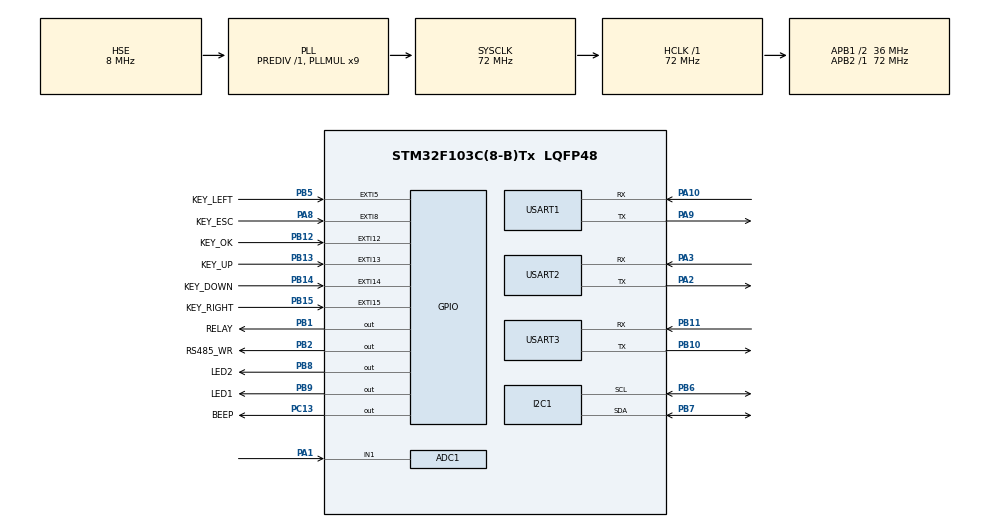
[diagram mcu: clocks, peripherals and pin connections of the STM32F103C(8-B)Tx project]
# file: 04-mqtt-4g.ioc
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ADC1.Channel-0\#ChannelRegularConversion=ADC_CHANNEL_1
ADC1.NbrOfConversionFlag=1
ADC1.Rank-0\#ChannelRegularConversion=1
ADC1.SamplingTime-0\#ChannelRegularConversion=ADC_SAMPLETIME_239CYCLES_5
ADC1.master=1
Dma.Request0=USART3_RX
Dma.Request1=USART1_RX
Dma.USART1_RX.1.Direction=DMA_PERIPH_TO_MEMORY
Dma.USART1_RX.1.Instance=DMA1_Channel5
Dma.USART1_RX.1.MemDataAlignment=DMA_MDATAALIGN_BYTE
Dma.USART1_RX.1.MemInc=DMA_MINC_ENABLE
Dma.USART1_RX.1.Mode=DMA_CIRCULAR
Dma.USART1_RX.1.PeriphDataAlignment=DMA_PDATAALIGN_BYTE
Dma.USART1_RX.1.PeriphInc=DMA_PINC_DISABLE
Dma.USART1_RX.1.Priority=DMA_PRIORITY_HIGH
Dma.USART3_RX.0.Direction=DMA_PERIPH_TO_MEMORY
Dma.USART3_RX.0.Instance=DMA1_Channel3
Dma.USART3_RX.0.MemDataAlignment=DMA_MDATAALIGN_BYTE
Dma.USART3_RX.0.MemInc=DMA_MINC_ENABLE
Dma.USART3_RX.0.Mode=DMA_CIRCULAR
Dma.USART3_RX.0.PeriphDataAlignment=DMA_PDATAALIGN_BYTE
Dma.USART3_RX.0.PeriphInc=DMA_PINC_DISABLE
Dma.USART3_RX.0.Priority=DMA_PRIORITY_HIGH
Mcu.Family=STM32F1
Mcu.Name=STM32F103C(8-B)Tx
Mcu.Package=LQFP48
NVIC.DMA1_Channel3_IRQn=true\:0\:0\:false\:false\:true\:false\:true\:true
NVIC.DMA1_Channel5_IRQn=true\:0\:0\:false\:false\:true\:false\:true\:true
NVIC.EXTI15_10_IRQn=true\:0\:0\:true\:false\:true\:true\:true\:true
NVIC.EXTI9_5_IRQn=true\:0\:0\:true\:false\:true\:true\:true\:true
NVIC.PriorityGroup=NVIC_PRIORITYGROUP_4
NVIC.TIM1_UP_IRQn=true\:0\:0\:false\:false\:true\:true\:true\:true
NVIC.TIM3_IRQn=true\:2\:0\:true\:false\:false\:true\:true\:true
NVIC.TIM4_IRQn=true\:0\:0\:false\:false\:true\:true\:true\:true
NVIC.USART1_IRQn=true\:0\:0\:false\:false\:true\:true\:true\:true
NVIC.USART2_IRQn=true\:0\:0\:false\:false\:false\:true\:true\:true
NVIC.USART3_IRQn=true\:0\:0\:false\:false\:true\:true\:true\:true
PA1.Signal=ADCx_IN1
PA10.Mode=Asynchronous
PA10.Signal=USART1_RX
PA13.Mode=Serial_Wire
PA13.Signal=SYS_JTMS-SWDIO
PA14.Mode=Serial_Wire
PA14.Signal=SYS_JTCK-SWCLK
PA2.Mode=Asynchronous
PA2.Signal=USART2_TX
PA3.Mode=Asynchronous
PA3.Signal=USART2_RX
PA8.GPIO_Label=KEY_ESC
PA8.GPIO_ModeDefaultEXTI=GPIO_MODE_IT_FALLING
PA8.GPIO_PuPd=GPIO_PULLUP
PA8.Signal=GPXTI8
PA9.Mode=Asynchronous
PA9.Signal=USART1_TX
PB1.GPIO_Label=RELAY
PB1.Signal=GPIO_Output
PB10.Mode=Asynchronous
PB10.Signal=USART3_TX
PB11.Mode=Asynchronous
PB11.Signal=USART3_RX
PB12.GPIO_Label=KEY_OK
PB12.GPIO_ModeDefaultEXTI=GPIO_MODE_IT_FALLING
PB12.GPIO_PuPd=GPIO_PULLUP
PB12.Signal=GPXTI12
PB13.GPIO_Label=KEY_UP
PB13.GPIO_ModeDefaultEXTI=GPIO_MODE_IT_FALLING
PB13.GPIO_PuPd=GPIO_PULLUP
PB13.Signal=GPXTI13
PB14.GPIO_Label=KEY_DOWN
PB14.GPIO_ModeDefaultEXTI=GPIO_MODE_IT_FALLING
PB14.GPIO_PuPd=GPIO_PULLUP
PB14.Signal=GPXTI14
PB15.GPIO_Label=KEY_RIGHT
PB15.GPIO_ModeDefaultEXTI=GPIO_MODE_IT_FALLING
PB15.GPIO_PuPd=GPIO_PULLUP
PB15.Signal=GPXTI15
PB2.GPIO_Label=RS485_WR
PB2.GPIO_Speed=GPIO_SPEED_FREQ_HIGH
PB2.Signal=GPIO_Output
PB5.GPIO_Label=KEY_LEFT
PB5.GPIO_ModeDefaultEXTI=GPIO_MODE_IT_FALLING
PB5.GPIO_PuPd=GPIO_PULLUP
PB5.Signal=GPXTI5
PB6.Mode=I2C
PB6.Signal=I2C1_SCL
PB7.Mode=I2C
PB7.Signal=I2C1_SDA
PB8.GPIO_Label=LED2
PB8.PinState=GPIO_PIN_SET
PB8.Signal=GPIO_Output
PB9.GPIO_Label=LED1
PB9.PinState=GPIO_PIN_SET
PB9.Signal=GPIO_Output
PC13-TAMPER-RTC.GPIO_Label=BEEP
PC13-TAMPER-RTC.Signal=GPIO_Output
PC14-OSC32_IN.Mode=LSE-External-Oscillator
PC14-OSC32_IN.Signal=RCC_OSC32_IN
PC15-OSC32_OUT.Mode=LSE-External-Oscillator
PC15-OSC32_OUT.Signal=RCC_OSC32_OUT
PD0-OSC_IN.Mode=HSE-External-Oscillator
PD0-OSC_IN.Signal=RCC_OSC_IN
PD1-OSC_OUT.Mode=HSE-External-Oscillator
PD1-OSC_OUT.Signal=RCC_OSC_OUT
ProjectManager.HeapSize=0x200
ProjectManager.StackSize=0x400
ProjectManager.TargetToolchain=MDK-ARM V5.32
RCC.ADCPresc=RCC_ADCPCLK2_DIV6
RCC.AHBFreq_Value=72000000
RCC.APB1CLKDivider=RCC_HCLK_DIV2
RCC.APB1Freq_Value=36000000
RCC.APB1TimFreq_Value=72000000
RCC.APB2Freq_Value=72000000
RCC.APB2TimFreq_Value=72000000
RCC.HCLKFreq_Value=72000000
RCC.PLLMUL=RCC_PLL_MUL9
RCC.PLLSourceVirtual=RCC_PLLSOURCE_HSE
RCC.RTCClockSelection=RCC_RTCCLKSOURCE_LSE
RCC.SYSCLKFreq_VALUE=72000000
RCC.SYSCLKSource=RCC_SYSCLKSOURCE_PLLCLK
RCC.USBFreq_Value=72000000
RTC.Date=4
RTC.Hours=10
RTC.Minutes=20
RTC.Month=RTC_MONTH_SEPTEMBER
RTC.Seconds=30
RTC.WeekDay=RTC_WEEKDAY_THURSDAY
RTC.Year=25
SH.ADCx_IN1.0=ADC1_IN1,IN1
TIM1.AutoReloadPreload=TIM_AUTORELOAD_PRELOAD_ENABLE
TIM1.Period=5000
TIM1.Prescaler=7200-1
TIM3.AutoReloadPreload=TIM_AUTORELOAD_PRELOAD_DISABLE
TIM3.Period=100
TIM3.Prescaler=3599
TIM4.AutoReloadPreload=TIM_AUTORELOAD_PRELOAD_DISABLE
TIM4.Period=100
TIM4.Prescaler=7200-1
USART1.VirtualMode=VM_ASYNC
USART2.VirtualMode=VM_ASYNC
USART3.VirtualMode=VM_ASYNC
VP_RTC_No_RTC_Output.Mode=RTC_OUT_NO
VP_RTC_VS_RTC_Activate.Mode=RTC_Enabled
VP_RTC_VS_RTC_Calendar.Mode=RTC_Calendar
VP_TIM1_VS_ClockSourceINT.Mode=Internal
VP_TIM3_VS_ClockSourceINT.Mode=Internal
VP_TIM4_VS_ClockSourceINT.Mode=Internal
board=custom

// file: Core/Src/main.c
/* USER CODE BEGIN Header */
/**
  ******************************************************************************
  * @file           : main.c
  * @brief          : Main program body
  ******************************************************************************
  * @attention
  *
  * Copyright (c) 2025 STMicroelectronics.
  * All rights reserved.
  *
  * This software is licensed under terms that can be found in the LICENSE file
  * in the root directory of this software component.
  * If no LICENSE file comes with this software, it is provided AS-IS.
  *
  ******************************************************************************
  */
/* USER CODE END Header */
#include "main.h"
#include "adc.h"
#include "dma.h"
#include "i2c.h"
#include "rtc.h"
#include "tim.h"
#include "usart.h"
#include "gpio.h"

/* USER CODE BEGIN Includes */
#include <stdio.h>
#include "oled.h"
#include "aht20.h"
#include "ina226.h"
#include "mb.h"
#include "modbus.h"
#include "wifi4g.h"
#include "mqtt.h"
#include "mqtt.h"
/* USER CODE END Includes */

void SystemClock_Config(void);

int main(void)
{

  /* MCU Configuration--------------------------------------------------------*/

  /* Reset of all peripherals, Initializes the Flash interface and the Systick. */
  HAL_Init();

  /* Configure the system clock */
  SystemClock_Config();

  /* Initialize all configured peripherals */
  MX_GPIO_Init();
  MX_DMA_Init();
  MX_USART1_UART_Init();
  MX_I2C1_Init();
  MX_RTC_Init();
  MX_ADC1_Init();
  MX_TIM3_Init();
  MX_USART2_UART_Init();
  MX_TIM1_Init();
  MX_USART3_UART_Init();
  MX_TIM4_Init();
  /* USER CODE BEGIN 2 */
	HAL_Delay(400); // 这里延时是给esp8266 打印日志使用的
	// 经过测试 , 400ms时, 日志输出就没有了, 为了安全,我们设置400ms 以上的延时
	// 等待esp8266 输出初始化日志, 要不然一旦开启uart3就会触发dma中断,早期的esp8266初始化的数据波特率不是
	// 115200, 会造成uart3的错误,要在uart3中做错误恢复

	printf("Uart1 init is ok\n");
	printf("MQTT Test\n");
	//EEPROM_Test();
	OLED_Init();
	OLED_CLS(); // 清除屏幕显示
	OLED_ShowStr(16,0, (unsigned char*)"MQTT Control", 2);
	AHT20_Init();
	INA226_Init();

	__HAL_UART_ENABLE_IT(&huart1, UART_IT_IDLE); //使能串UART1 IDLE(空闲)中断
	HAL_UART_Receive_DMA(&huart1, RX1_Buf, DMA_BUF_SIZE); //设置DMA传输，将uart1的数据搬运到RX1_Buf中

	__HAL_UART_ENABLE_IT(&huart3, UART_IT_IDLE); //使能串UART3 IDLE(空闲)中断
	HAL_UART_Receive_DMA(&huart3, RX3_Buf, DMA_BUF_SIZE); //设置DMA传输，将uart3的数据搬运到RX3_Buf中

	MQTT_Connect_Server();
	HAL_TIM_Base_Start_IT(&htim1); // 使能定时器1中断
	Modbus_Init();
  /* USER CODE END 2 */

  /* Infinite loop */
  /* USER CODE BEGIN WHILE */
  while (1)
  {
		eMBPoll();// 轮训查询
		Modbus_Parse();

		if(MQTT_UPLoad_Flag) // 每隔5秒执行1次
		{
				MQTT_UPLoad_Flag = 0 ;
				MQTT_SendData();
		}
    /* USER CODE END WHILE */

  }
}

void SystemClock_Config(void)
{
  RCC_OscInitTypeDef RCC_OscInitStruct = {0};
  RCC_ClkInitTypeDef RCC_ClkInitStruct = {0};
  RCC_PeriphCLKInitTypeDef PeriphClkInit = {0};

  /** Initializes the RCC Oscillators according to the specified parameters
  * in the RCC_OscInitTypeDef structure.
  */
  RCC_OscInitStruct.OscillatorType = RCC_OSCILLATORTYPE_HSE|RCC_OSCILLATORTYPE_LSE;
  RCC_OscInitStruct.HSEState = RCC_HSE_ON;
  RCC_OscInitStruct.HSEPredivValue = RCC_HSE_PREDIV_DIV1;
  RCC_OscInitStruct.LSEState = RCC_LSE_ON;
  RCC_OscInitStruct.HSIState = RCC_HSI_ON;
  RCC_OscInitStruct.PLL.PLLState = RCC_PLL_ON;
  RCC_OscInitStruct.PLL.PLLSource = RCC_PLLSOURCE_HSE;
  RCC_OscInitStruct.PLL.PLLMUL = RCC_PLL_MUL9;
  if (HAL_RCC_OscConfig(&RCC_OscInitStruct) != HAL_OK)
  {
    Error_Handler();
  }

  /** Initializes the CPU, AHB and APB buses clocks
  */
  RCC_ClkInitStruct.ClockType = RCC_CLOCKTYPE_HCLK|RCC_CLOCKTYPE_SYSCLK
                              |RCC_CLOCKTYPE_PCLK1|RCC_CLOCKTYPE_PCLK2;
  RCC_ClkInitStruct.SYSCLKSource = RCC_SYSCLKSOURCE_PLLCLK;
  RCC_ClkInitStruct.AHBCLKDivider = RCC_SYSCLK_DIV1;
  RCC_ClkInitStruct.APB1CLKDivider = RCC_HCLK_DIV2;
  RCC_ClkInitStruct.APB2CLKDivider = RCC_HCLK_DIV1;

  if (HAL_RCC_ClockConfig(&RCC_ClkInitStruct, FLASH_LATENCY_2) != HAL_OK)
  {
    Error_Handler();
  }
  PeriphClkInit.PeriphClockSelection = RCC_PERIPHCLK_RTC|RCC_PERIPHCLK_ADC;
  PeriphClkInit.RTCClockSelection = RCC_RTCCLKSOURCE_LSE;
  PeriphClkInit.AdcClockSelection = RCC_ADCPCLK2_DIV6;
  if (HAL_RCCEx_PeriphCLKConfig(&PeriphClkInit) != HAL_OK)
  {
    Error_Handler();
  }
}

void Error_Handler(void)
{
  __disable_irq();
  while (1)
  {
  }
}
